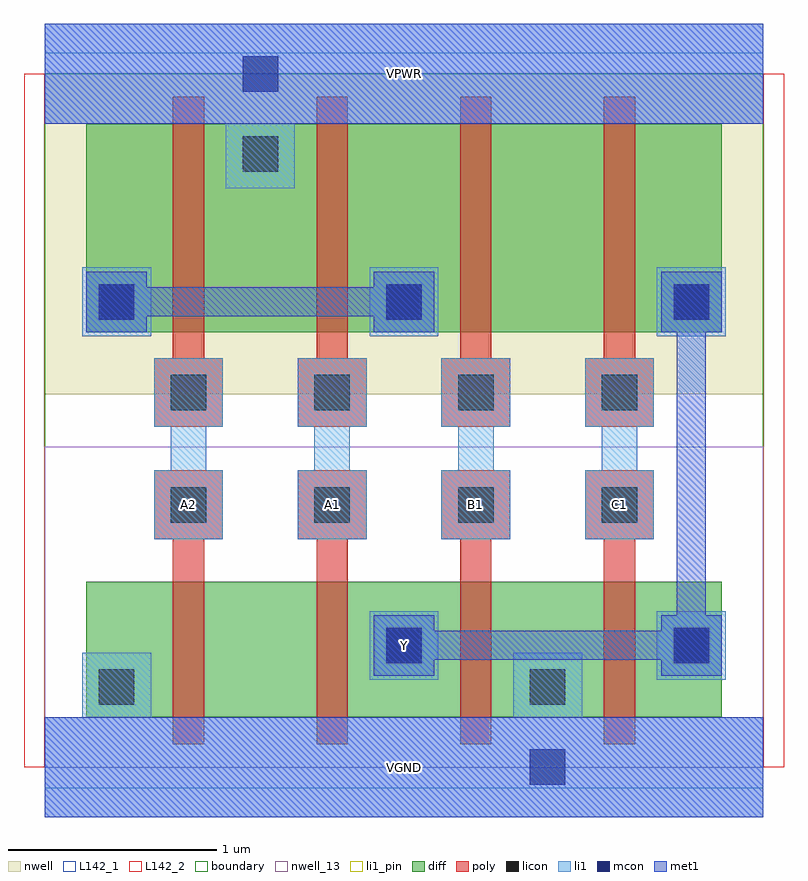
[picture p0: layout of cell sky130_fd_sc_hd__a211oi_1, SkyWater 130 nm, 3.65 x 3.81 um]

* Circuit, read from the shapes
.subckt sky130_fd_sc_hd__a211oi_1 A1 A2 B1 C1 VGND VPWR Y
XM1 n1 A2 VGND VSUBS sky130_fd_pr__nfet_01v8 w=0.65 l=0.15
XM2 Y A1 n1 VSUBS sky130_fd_pr__nfet_01v8 w=0.65 l=0.15
XM3 VGND B1 Y VSUBS sky130_fd_pr__nfet_01v8 w=0.65 l=0.15
XM4 Y C1 VGND VSUBS sky130_fd_pr__nfet_01v8 w=0.65 l=0.15
XM5 VPWR A2 n2 n3 sky130_fd_pr__pfet_01v8 w=1 l=0.15
XM6 n2 A1 VPWR n3 sky130_fd_pr__pfet_01v8 w=1 l=0.15
XM7 n4 B1 n2 n3 sky130_fd_pr__pfet_01v8 w=1 l=0.15
XM8 Y C1 n4 n3 sky130_fd_pr__pfet_01v8 w=1 l=0.15
.ends

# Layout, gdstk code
import gdstk
lib = gdstk.Library(unit=1e-6, precision=1e-09)
def R(c, l, rs):  # rectangles x0, y0, x1, y1
    for r in rs: c.add(gdstk.rectangle(r[:2], r[2:], *l))
def A(c, l, x, y, w, h, nx, ny, dx, dy):  # array of equal rectangles
    R(c, l, [(x+i*dx, y+j*dy, x+i*dx+w, y+j*dy+h) for i in range(nx) for j in range(ny)])
def P(c, l, *ps):  # polygons
    for p in ps: c.add(gdstk.Polygon(p, *l))
nwell_13 = (64, 13)
nwell = (64, 20)
diff = (65, 20)
poly = (66, 20)
licon = (66, 44)
li1_pin = (67, 16)
li1 = (67, 20)
mcon = (67, 44)
met1 = (68, 20)
L142_1 = (142, 1)
L142_2 = (142, 2)
boundary = (235, 4)

sky130_fd_sc_hd__a211oi_ = lib.new_cell('sky130_fd_sc_hd__a211oi_1')
R(sky130_fd_sc_hd__a211oi_, nwell_13, [(0,0,3.45,1.54)])
R(sky130_fd_sc_hd__a211oi_, nwell, [(0,1.79,3.45,3.33)])
A(sky130_fd_sc_hd__a211oi_, diff, 0.615, 0.24, 0.69, 0.65, 3, 1, 0.69, 0)
A(sky130_fd_sc_hd__a211oi_, diff, 0.615, 2.09, 0.69, 1, 3, 1, 0.69, 0)
R(sky130_fd_sc_hd__a211oi_, diff, [(0.2,0.24,3.25,0.89), (0.2,0.24,0.615,0.89), (2.685,0.24,3.25,0.89), (0.2,2.09,3.25,3.09), (0.2,2.09,0.615,3.09), (2.685,2.09,3.25,3.09)])
P(sky130_fd_sc_hd__a211oi_, poly, [(0.615,0.11),(0.615,1.095),(0.525,1.095),(0.525,1.425),(0.855,1.425),(0.855,1.095),(0.765,1.095),(0.765,0.11)],
  [(0.525,1.635),(0.525,1.965),(0.615,1.965),(0.615,3.22),(0.765,3.22),(0.765,1.965),(0.855,1.965),(0.855,1.635)],
  [(1.305,0.11),(1.305,1.095),(1.215,1.095),(1.215,1.425),(1.545,1.425),(1.545,1.095),(1.455,1.095),(1.455,0.11)],
  [(1.215,1.635),(1.215,1.965),(1.305,1.965),(1.305,3.22),(1.455,3.22),(1.455,1.965),(1.545,1.965),(1.545,1.635)],
  [(2.685,0.11),(2.685,1.095),(2.595,1.095),(2.595,1.425),(2.925,1.425),(2.925,1.095),(2.835,1.095),(2.835,0.11)],
  [(2.595,1.635),(2.595,1.965),(2.685,1.965),(2.685,3.22),(2.835,3.22),(2.835,1.965),(2.925,1.965),(2.925,1.635)],
  [(1.995,0.11),(1.995,1.095),(1.905,1.095),(1.905,1.425),(2.235,1.425),(2.235,1.095),(2.145,1.095),(2.145,0.11)],
  [(1.905,1.635),(1.905,1.965),(1.995,1.965),(1.995,3.22),(2.145,3.22),(2.145,1.965),(2.235,1.965),(2.235,1.635)])
A(sky130_fd_sc_hd__a211oi_, licon, 0.605, 1.175, 0.17, 0.17, 4, 2, 0.69, 0.54)
A(sky130_fd_sc_hd__a211oi_, licon, 0.26, 2.15, 0.17, 0.17, 3, 1, 1.38, 0)
R(sky130_fd_sc_hd__a211oi_, licon, [(0.26,0.3,0.43,0.47), (2.33,0.3,2.5,0.47), (1.64,0.5,1.81,0.67), (3.02,0.5,3.19,0.67), (0.95,2.86,1.12,3.03)])
R(sky130_fd_sc_hd__a211oi_, li1_pin, [(0,-0.24,3.45,0.24), (1.56,0.42,1.89,0.75), (0,3.09,3.45,3.57)])
P(sky130_fd_sc_hd__a211oi_, li1_pin, [(2.595,1.095),(2.595,1.425),(2.675,1.425),(2.675,1.635),(2.595,1.635),(2.595,1.965),(2.925,1.965),(2.925,1.635),(2.845,1.635),(2.845,1.425),(2.925,1.425),(2.925,1.095)],
  [(1.215,1.095),(1.215,1.425),(1.295,1.425),(1.295,1.635),(1.215,1.635),(1.215,1.965),(1.545,1.965),(1.545,1.635),(1.465,1.635),(1.465,1.425),(1.545,1.425),(1.545,1.095)],
  [(0.525,1.095),(0.525,1.425),(0.605,1.425),(0.605,1.635),(0.525,1.635),(0.525,1.965),(0.855,1.965),(0.855,1.635),(0.775,1.635),(0.775,1.425),(0.855,1.425),(0.855,1.095)],
  [(1.905,1.095),(1.905,1.425),(1.985,1.425),(1.985,1.635),(1.905,1.635),(1.905,1.965),(2.235,1.965),(2.235,1.635),(2.155,1.635),(2.155,1.425),(2.235,1.425),(2.235,1.095)])
A(sky130_fd_sc_hd__a211oi_, li1, 0.18, 2.07, 0.33, 0.33, 3, 1, 1.38, 0)
R(sky130_fd_sc_hd__a211oi_, li1, [(1.56,0.42,1.89,0.75), (2.94,0.42,3.27,0.75)])
P(sky130_fd_sc_hd__a211oi_, li1, [(0.525,1.095),(0.525,1.425),(0.605,1.425),(0.605,1.635),(0.525,1.635),(0.525,1.965),(0.855,1.965),(0.855,1.635),(0.775,1.635),(0.775,1.425),(0.855,1.425),(0.855,1.095)],
  [(0.87,2.78),(0.87,3.09),(0,3.09),(0,3.57),(3.45,3.57),(3.45,3.09),(1.2,3.09),(1.2,2.78)],
  [(1.215,1.095),(1.215,1.425),(1.295,1.425),(1.295,1.635),(1.215,1.635),(1.215,1.965),(1.545,1.965),(1.545,1.635),(1.465,1.635),(1.465,1.425),(1.545,1.425),(1.545,1.095)],
  [(0,-0.24),(0,0.24),(0.18,0.24),(0.18,0.55),(0.51,0.55),(0.51,0.24),(2.25,0.24),(2.25,0.55),(2.58,0.55),(2.58,0.24),(3.45,0.24),(3.45,-0.24)],
  [(2.595,1.095),(2.595,1.425),(2.675,1.425),(2.675,1.635),(2.595,1.635),(2.595,1.965),(2.925,1.965),(2.925,1.635),(2.845,1.635),(2.845,1.425),(2.925,1.425),(2.925,1.095)],
  [(1.905,1.095),(1.905,1.425),(1.985,1.425),(1.985,1.635),(1.905,1.635),(1.905,1.965),(2.235,1.965),(2.235,1.635),(2.155,1.635),(2.155,1.425),(2.235,1.425),(2.235,1.095)])
A(sky130_fd_sc_hd__a211oi_, mcon, 0.26, 2.15, 0.17, 0.17, 3, 1, 1.38, 0)
R(sky130_fd_sc_hd__a211oi_, mcon, [(2.33,-0.085,2.5,0.085), (1.64,0.5,1.81,0.67), (3.02,0.5,3.19,0.67), (0.95,3.245,1.12,3.415)])
R(sky130_fd_sc_hd__a211oi_, met1, [(0,-0.24,3.45,0.24), (0,3.09,3.45,3.57)])
P(sky130_fd_sc_hd__a211oi_, met1, [(1.58,0.44),(1.58,0.73),(1.87,0.73),(1.87,0.655),(2.96,0.655),(2.96,0.73),(3.035,0.73),(3.035,2.09),(2.96,2.09),(2.96,2.38),(3.25,2.38),(3.25,2.09),(3.175,2.09),(3.175,0.73),(3.25,0.73),(3.25,0.44),(2.96,0.44),(2.96,0.515),(1.87,0.515),(1.87,0.44)],
  [(0.2,2.09),(0.2,2.38),(0.49,2.38),(0.49,2.305),(1.58,2.305),(1.58,2.38),(1.87,2.38),(1.87,2.09),(1.58,2.09),(1.58,2.165),(0.49,2.165),(0.49,2.09)])
R(sky130_fd_sc_hd__a211oi_, L142_1, [(0,-0.1,3.45,0), (0,3.33,3.45,3.43)])
R(sky130_fd_sc_hd__a211oi_, L142_2, [(-0.1,0,0,3.33), (3.45,0,3.55,3.33)])
R(sky130_fd_sc_hd__a211oi_, boundary, [(0,0,3.45,3.33)])
sky130_fd_sc_hd__a211oi_.add(gdstk.Label('Y', (1.725,0.585), layer=67, texttype=5))
sky130_fd_sc_hd__a211oi_.add(gdstk.Label('C1', (2.76,1.26), layer=67, texttype=5))
sky130_fd_sc_hd__a211oi_.add(gdstk.Label('A1', (1.38,1.26), layer=67, texttype=5))
sky130_fd_sc_hd__a211oi_.add(gdstk.Label('A2', (0.69,1.26), layer=67, texttype=5))
sky130_fd_sc_hd__a211oi_.add(gdstk.Label('B1', (2.07,1.26), layer=67, texttype=5))
sky130_fd_sc_hd__a211oi_.add(gdstk.Label('VGND', (1.725,0), layer=67, texttype=5))
sky130_fd_sc_hd__a211oi_.add(gdstk.Label('VPWR', (1.725,3.33), layer=67, texttype=5))
sky130_fd_sc_hd__a211oi_.add(gdstk.Label('VGND', (1.725,0), layer=68, texttype=5))
sky130_fd_sc_hd__a211oi_.add(gdstk.Label('VPWR', (1.725,3.33), layer=68, texttype=5))

lib.write_gds('sky130_fd_sc_hd__a211oi_1.gds')
